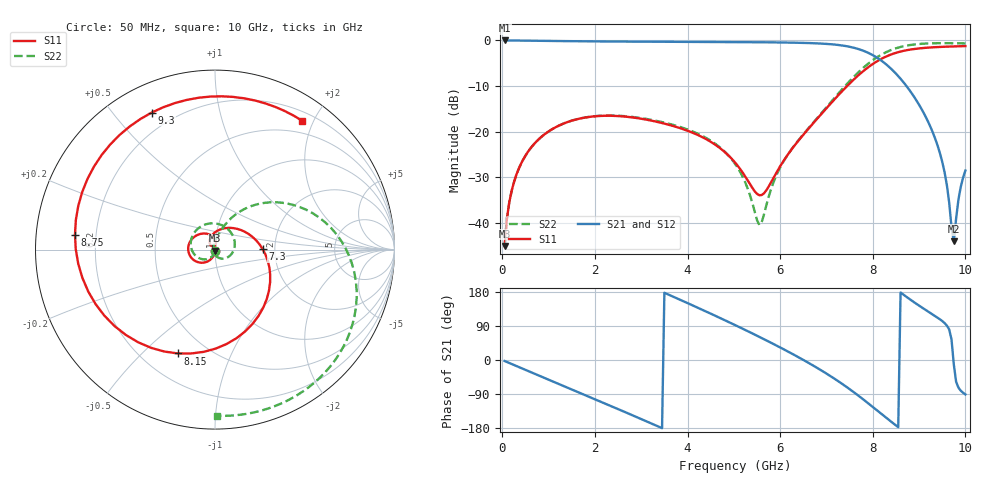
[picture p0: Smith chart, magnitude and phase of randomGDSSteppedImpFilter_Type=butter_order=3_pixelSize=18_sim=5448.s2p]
! freq	dB(S11)	phase(S11)	dB(S12)	phase(S12)
!  dB(S21)	phase(S21)	dB(S22)	phase(S22)
!S-par simulation data
#  GHz  S  DB  R 50
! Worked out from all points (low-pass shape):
!   200 points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, 50 MHz to 10 GHz, reference 50 ohm
!   highest |S21| = -0.01 dB at 50 MHz (marker M1); lowest = -44.0 dB at 9.75 GHz (marker M2)
!   |S21| within 3 dB of the highest: start of sweep to 7.96 GHz
!   lowest |S11| = -45.1 dB at 50 MHz (marker M3), VSWR 1.01, Z = 50 - j0.559 ohm
!   |S11| at or under -10 dB: start of sweep to 7.445 GHz
!   |S22| runs from -45.1 to -0.6 dB; largest |S21 - S12| = 0
!   S11 on the Smith chart (normalised r, x): 50 MHz: 1.00, -0.01; 7.3 GHz: 1.72, +0.01; 8.15 GHz: 0.35, -0.64; 8.75 GHz: 0.12, +0.05; 9.3 GHz: 0.12, +0.63; 10 GHz: 0.32, +1.84
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0.05  -45.05 -91.5  -0.01 -2.7  -0.01 -2.7  -45.07 -92.3
0.2  -33.03 -98.5  -0.02 -10.5  -0.02 -10.5  -33.06 -102.0
0.5  -25.24 -111.8  -0.04 -26.1  -0.04 -26.1  -25.26 -120.7
1.15  -19.02 -139.8  -0.12 -59.7  -0.12 -59.7  -19.03 -161.3
1.75  -16.97 -163.9  -0.19 -90.6  -0.19 -90.6  -16.94 160.6
2.5  -16.57 168.6  -0.25 -129.5  -0.25 -129.5  -16.49 110.1
3.4  -17.97 139.2  -0.29 -177.2  -0.29 -177.2  -17.77 44.9
4.15  -20.39 114.3  -0.32 141.9  -0.32 141.9  -20.11 -10.1
5.05  -27.04 83.4  -0.36 90.8  -0.36 90.8  -27.39 -73.5
5.55  -33.91 106.5  -0.39 61.1  -0.39 61.1  -40.41 -170.2
6  -27.56 131.9  -0.44 33.2  -0.44 33.2  -27.84 93.1
6.7  -18.31 71.6  -0.60 -13.7  -0.60 -13.7  -18.18 71.0
7.3  -11.52 0.7  -1.05 -59.7  -1.05 -59.7  -11.13 54.2
7.75  -7.10 -56.6  -2.09 -99.7  -2.09 -99.7  -6.40 32.4
8.15  -4.23 -109.8  -4.16 -138.6  -4.16 -138.6  -3.32 7.2
8.35  -3.26 -136.2  -5.78 -158.2  -5.78 -158.2  -2.29 -6.1
8.75  -2.11 173.9  -10.29 164.6  -10.29 164.6  -1.10 -31.3
9.3  -1.50 114.8  -20.26 119.7  -20.26 119.7  -0.62 -60.2
9.55  -1.38 91.8  -28.87 97.6  -28.87 97.6  -0.60 -71.3
9.75  -1.31 75.0  -44.03 -11.9  -44.03 -11.9  -0.62 -79.5
9.85  -1.28 67.1  -34.84 -72.9  -34.84 -72.9  -0.63 -83.5
10  -1.24 55.9  -28.50 -90.9  -28.50 -90.9  -0.67 -89.2
